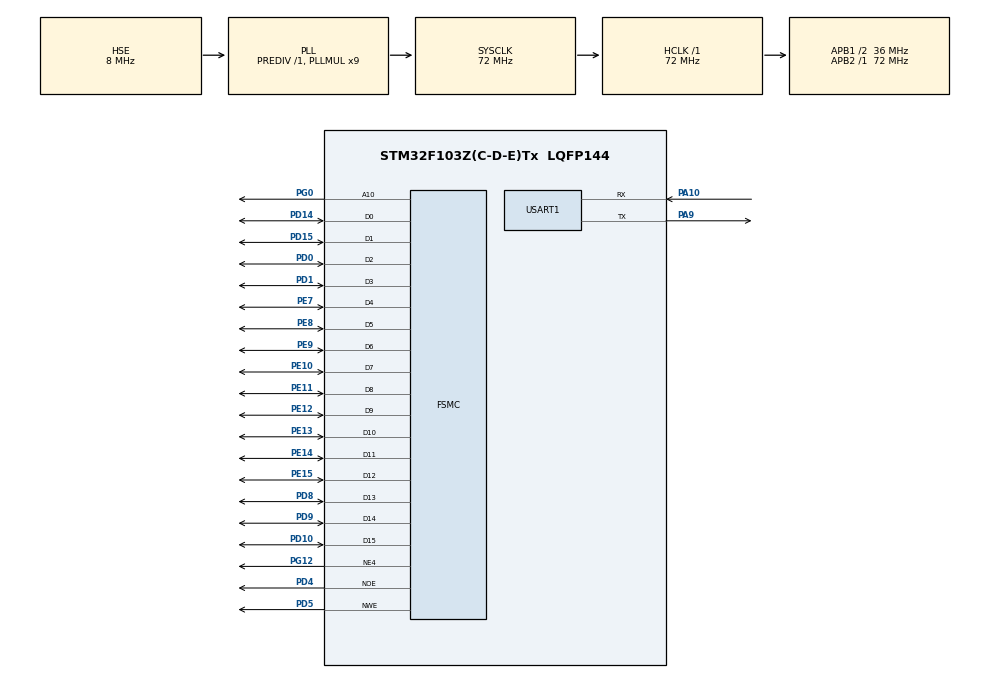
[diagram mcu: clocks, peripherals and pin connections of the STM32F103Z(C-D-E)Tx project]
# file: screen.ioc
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Mcu.Family=STM32F1
Mcu.Name=STM32F103Z(C-D-E)Tx
Mcu.Package=LQFP144
NVIC.PriorityGroup=NVIC_PRIORITYGROUP_4
NVIC.TIM6_IRQn=true\:0\:0\:false\:false\:true\:true\:true\:true
OSC_IN.Mode=HSE-External-Oscillator
OSC_IN.Signal=RCC_OSC_IN
OSC_OUT.Mode=HSE-External-Oscillator
OSC_OUT.Signal=RCC_OSC_OUT
PA10.Mode=Asynchronous
PA10.Signal=USART1_RX
PA13.Mode=Serial_Wire
PA13.Signal=SYS_JTMS-SWDIO
PA14.Mode=Serial_Wire
PA14.Signal=SYS_JTCK-SWCLK
PA9.Mode=Asynchronous
PA9.Signal=USART1_TX
PD0.Signal=FSMC_D2_DA2
PD1.Signal=FSMC_D3_DA3
PD10.Signal=FSMC_D15_DA15
PD14.Signal=FSMC_D0_DA0
PD15.Signal=FSMC_D1_DA1
PD4.Signal=FSMC_NOE
PD5.Signal=FSMC_NWE
PD8.Signal=FSMC_D13_DA13
PD9.Signal=FSMC_D14_DA14
PE10.Signal=FSMC_D7_DA7
PE11.Signal=FSMC_D8_DA8
PE12.Signal=FSMC_D9_DA9
PE13.Signal=FSMC_D10_DA10
PE14.Signal=FSMC_D11_DA11
PE15.Signal=FSMC_D12_DA12
PE7.Signal=FSMC_D4_DA4
PE8.Signal=FSMC_D5_DA5
PE9.Signal=FSMC_D6_DA6
PG0.Signal=FSMC_A10
PG12.Mode=NorPsramChipSelect4_1
PG12.Signal=FSMC_NE4
ProjectManager.HeapSize=0x300
ProjectManager.StackSize=0x600
ProjectManager.TargetToolchain=Makefile
RCC.AHBFreq_Value=72000000
RCC.APB1CLKDivider=RCC_HCLK_DIV2
RCC.APB1Freq_Value=36000000
RCC.APB1TimFreq_Value=72000000
RCC.APB2Freq_Value=72000000
RCC.APB2TimFreq_Value=72000000
RCC.HCLKFreq_Value=72000000
RCC.PLLMUL=RCC_PLL_MUL9
RCC.PLLSourceVirtual=RCC_PLLSOURCE_HSE
RCC.SYSCLKFreq_VALUE=72000000
RCC.SYSCLKSource=RCC_SYSCLKSOURCE_PLLCLK
RCC.USBFreq_Value=72000000
SH.FSMC_A10.0=FSMC_A10,A10_1
SH.FSMC_D0_DA0.0=FSMC_D0,16b-d1
SH.FSMC_D10_DA10.0=FSMC_D10,16b-d1
SH.FSMC_D11_DA11.0=FSMC_D11,16b-d1
SH.FSMC_D12_DA12.0=FSMC_D12,16b-d1
SH.FSMC_D13_DA13.0=FSMC_D13,16b-d1
SH.FSMC_D14_DA14.0=FSMC_D14,16b-d1
SH.FSMC_D15_DA15.0=FSMC_D15,16b-d1
SH.FSMC_D1_DA1.0=FSMC_D1,16b-d1
SH.FSMC_D2_DA2.0=FSMC_D2,16b-d1
SH.FSMC_D3_DA3.0=FSMC_D3,16b-d1
SH.FSMC_D4_DA4.0=FSMC_D4,16b-d1
SH.FSMC_D5_DA5.0=FSMC_D5,16b-d1
SH.FSMC_D6_DA6.0=FSMC_D6,16b-d1
SH.FSMC_D7_DA7.0=FSMC_D7,16b-d1
SH.FSMC_D8_DA8.0=FSMC_D8,16b-d1
SH.FSMC_D9_DA9.0=FSMC_D9,16b-d1
SH.FSMC_NOE.0=FSMC_NOE,Lcd1
SH.FSMC_NWE.0=FSMC_NWE,Lcd1
TIM6.AutoReloadPreload=TIM_AUTORELOAD_PRELOAD_ENABLE
TIM6.Period=1000-1
TIM6.Prescaler=36-1
TIM7.Prescaler=36-1
USART1.VirtualMode=VM_ASYNC
VP_TIM6_VS_ClockSourceINT.Mode=Enable_Timer
VP_TIM7_VS_ClockSourceINT.Mode=Enable_Timer
board=custom

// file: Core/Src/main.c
/* USER CODE BEGIN Header */
/**
  ******************************************************************************
  * @file           : main.c
  * @brief          : Main program body
  ******************************************************************************
  * @attention
  *
  * Copyright (c) 2024 STMicroelectronics.
  * All rights reserved.
  *
  * This software is licensed under terms that can be found in the LICENSE file
  * in the root directory of this software component.
  * If no LICENSE file comes with this software, it is provided AS-IS.
  *
  ******************************************************************************
  */
/* USER CODE END Header */
#include "main.h"
#include "tim.h"
#include "usart.h"
#include "gpio.h"
#include "fsmc.h"

/* USER CODE BEGIN Includes */
#include "led.h"
#include "lcd.h"
#include "touch.h"
#include "retarget.h"
#include <stdio.h>
#include "lvgl.h"
#include "lv_port_disp.h"
#include "lv_port_indev.h"
#include "gui_guider.h"
#include "custom.h"
#include "events_init.h"
/* USER CODE END Includes */

void SystemClock_Config(void);

int main(void)
{

  /* MCU Configuration--------------------------------------------------------*/

  /* Reset of all peripherals, Initializes the Flash interface and the Systick. */
  HAL_Init();

  /* Configure the system clock */
  SystemClock_Config();

  /* Initialize all configured peripherals */
  MX_GPIO_Init();
  MX_TIM7_Init();
  MX_USART1_UART_Init();
  MX_FSMC_Init();
  MX_TIM6_Init();
  /* USER CODE BEGIN 2 */
  HAL_TIM_Base_Start_IT(&htim6);
  RetargetInit(&huart1);
  lv_ui guider_ui;
  lv_init();
  lv_port_disp_init();
  lv_port_indev_init();
  setup_ui(&guider_ui);
  events_init(&guider_ui);
  custom_init(&guider_ui);
  //lv_demo_keypad_encoder();
  //lv_demos_show_help();
  /* USER CODE END 2 */

  /* Infinite loop */
  /* USER CODE BEGIN WHILE */
  while (1)
  {
	  lv_task_handler();
    /* USER CODE END WHILE */

  }
}

void SystemClock_Config(void)
{
  RCC_OscInitTypeDef RCC_OscInitStruct = {0};
  RCC_ClkInitTypeDef RCC_ClkInitStruct = {0};

  /** Initializes the RCC Oscillators according to the specified parameters
  * in the RCC_OscInitTypeDef structure.
  */
  RCC_OscInitStruct.OscillatorType = RCC_OSCILLATORTYPE_HSE;
  RCC_OscInitStruct.HSEState = RCC_HSE_ON;
  RCC_OscInitStruct.HSEPredivValue = RCC_HSE_PREDIV_DIV1;
  RCC_OscInitStruct.HSIState = RCC_HSI_ON;
  RCC_OscInitStruct.PLL.PLLState = RCC_PLL_ON;
  RCC_OscInitStruct.PLL.PLLSource = RCC_PLLSOURCE_HSE;
  RCC_OscInitStruct.PLL.PLLMUL = RCC_PLL_MUL9;
  if (HAL_RCC_OscConfig(&RCC_OscInitStruct) != HAL_OK)
  {
    Error_Handler();
  }

  /** Initializes the CPU, AHB and APB buses clocks
  */
  RCC_ClkInitStruct.ClockType = RCC_CLOCKTYPE_HCLK|RCC_CLOCKTYPE_SYSCLK
                              |RCC_CLOCKTYPE_PCLK1|RCC_CLOCKTYPE_PCLK2;
  RCC_ClkInitStruct.SYSCLKSource = RCC_SYSCLKSOURCE_PLLCLK;
  RCC_ClkInitStruct.AHBCLKDivider = RCC_SYSCLK_DIV1;
  RCC_ClkInitStruct.APB1CLKDivider = RCC_HCLK_DIV2;
  RCC_ClkInitStruct.APB2CLKDivider = RCC_HCLK_DIV1;

  if (HAL_RCC_ClockConfig(&RCC_ClkInitStruct, FLASH_LATENCY_2) != HAL_OK)
  {
    Error_Handler();
  }
}

void Error_Handler(void)
{
  __disable_irq();
  while (1)
  {
  }
}
